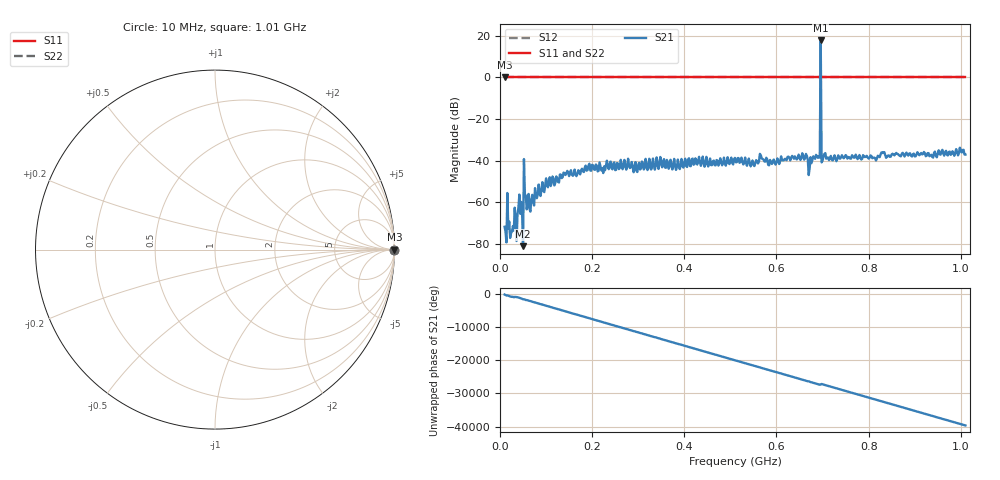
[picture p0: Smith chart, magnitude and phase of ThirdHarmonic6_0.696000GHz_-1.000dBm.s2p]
! 8/15/2025 11:15:29 PM
! C:\ANRITSUVNA\TEMP\TEMP.S2P
! CHANNEL.1
! TR.MEASUREMENT
! RAW.DATA
! RF.CORRECTION.OFF
! AVERAGING.OFF
! IF.BANDWIDTH: 5KHZ
! SWEEPTYPE:  FREQ.SWEEP(Linear)
! Reference Plane Port Info
! PORT:  PORT1  PORT2
! DISTANCE:  0  m  0  m
! TIME:  0  s  0  s
! PHASE.OFFSET:  0  deg.  0  deg.
! LOSS:  0  dB  0  dB
! REF.LOSS:  0  dB  0  dB
! REF.FREQ:  0  Hz  0  Hz
! Power Info
! POWER:  -20  dBm  -20  dBm
! EFF.POWER:  -20  dBm  -20  dBm
! SOURCE.ATTEN:  0  dB  0  dB
! TEST.ATTEN:  0  dB  0  dB
# GHZ S RI R 50.0
! FREQ.GHZ  S11RE  S11IM  S21RE  S21IM  S12RE  S12IM  S22RE  S22IM
!; PortSelection: Port_12
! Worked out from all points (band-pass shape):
!   501 points, 10 MHz to 1.01 GHz, reference 50 ohm
!   highest |S21| = 17.78 dB at 696 MHz (marker M1); lowest = -81.0 dB at 50 MHz (marker M2)
!   |S21| within 3 dB of the highest: 695.8933 MHz to 696.1025 MHz (209.2 kHz wide, 0.0301 % of centre)
!   lowest |S11| = 0.0 dB at 10 MHz (marker M3)
!   |S11| at or under -10 dB: nowhere
!   |S22| runs from 0.0 to 0.0 dB; largest |S21 - S12| = 7.6
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0.01  1 0  -0.000114 -0.000235  1 0  1 0
0.02  1 0  -0.000324 0.000128  1 0  1 0
0.026  1 0  -8e-06 -0.000201  1 0  1 0
0.042  1 0  0.00114 -0.00104  1 0  1 0
0.046  1 0  -0.000888 0.000526  1 0  1 0
0.05  1 0  -2.9e-05 -8.45e-05  1 0  1 0
0.056  1 0  0.00119 0.00086  1 0  1 0
0.062  1 0  -0.00151 -0.000551  1 0  1 0
0.104  1 0  0.0018 -0.00147  1 0  1 0
0.178  1 0  -0.00612 -0.00201  1 0  1 0
0.344  1 0  0.00639 -0.000212  1 0  1 0
0.51  1 0  -0.0116 0.00187  1 0  1 0
0.66  1 0  0.00196 -0.0105  1 0  1 0
0.674  1 0  0.00566 0.0108  1 0  1 0
0.678  1 0  0.00313 -0.0102  1 0  1 0
0.69  1 0  -0.011 0.00431  1 0  1 0
0.692  1 0  0.00187 0.0128  1 0  1 0
0.696  1 0  1.227 7.646  1 0  1 0
0.7  1 0  -0.00524 0.00871  1 0  1 0
0.702  1 0  0.00919 0.00869  1 0  1 0
0.844  1 0  -0.00183 0.0133  1 0  1 0
1.01  1 0  0.00335 -0.0137  1 0  1 0
